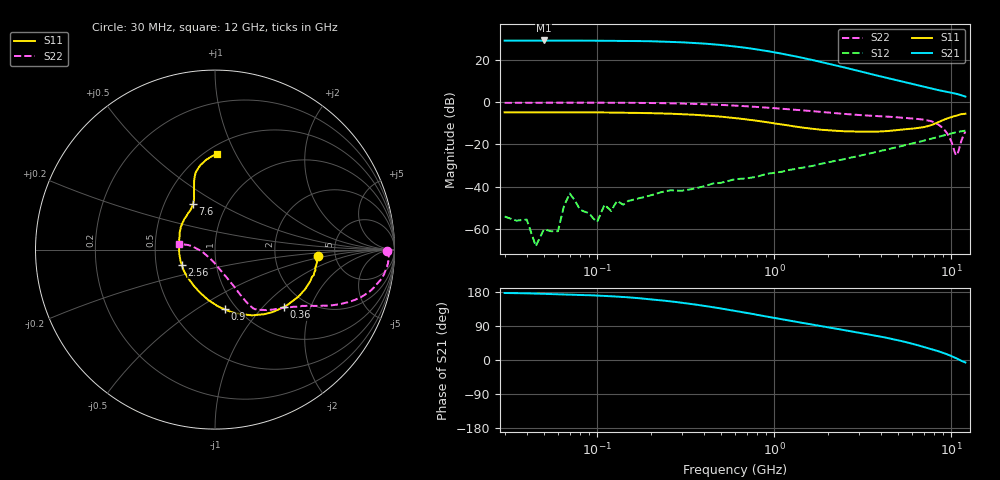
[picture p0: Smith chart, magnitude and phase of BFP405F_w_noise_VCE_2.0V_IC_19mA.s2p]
! Infineon Technologies  Discrete & RF Semiconductors
! BFP405F
! VCE =  2.0 V,  IC =  19 mA
! Common Emitter S-Parameters:  Nov 2015
# GHz  S  MA  R  50
!  f  S11  S21  S12  S22
! GHz  MAG  ANG  MAG  ANG  MAG  ANG  MAG  ANG
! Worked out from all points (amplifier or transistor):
!   239 points, 30 MHz to 12 GHz, reference 50 ohm
!   highest |S21| = 29.1 dB at 50 MHz (marker M1)
!   |S21| within 3 dB of that: start of sweep to 622.3 MHz
!   unconditionally stable (mu >= 1): 44.03 MHz to 60.92 MHz; 1.602 GHz to end of sweep
!   at 300 MHz: K = 0.30, MSG = 35.0 dB, |S12| = -41.8 dB
!   at 1.88 GHz: K = 1.08, MAG = 22.1 dB, |S12| = -29.0 dB
!   at 12 GHz: K = 1.40, MAG = 4.3 dB, |S12| = -13.5 dB
!   lowest NFmin = 2.19 dB at 450 MHz
!   S11 on the Smith chart (normalised r, x): 30 MHz: 3.66, -0.36; 360 MHz: 1.56, -1.33; 900 MHz: 0.88, -0.66; 2.56 GHz: 0.68, -0.12; 7.6 GHz: 0.69, +0.38; 12 GHz: 0.57, +0.85
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0.03  0.5741 -3.3  28.14 176.8  0.002 -174.6  0.9593 -0.4
0.04  0.5716 -4.5  28.21 176.0  0.0017 121.5  0.9648 -0.7
0.045  0.5701 -5.3  28.3 175.3  0.0004 127.3  0.964 -1.0
0.05  0.5688 -6.1  28.4 174.7  0.001 -62.6  0.9633 -1.4
0.06  0.5733 -6.9  28.18 173.8  0.0009 -11.4  0.9657 -1.7
0.07  0.5696 -9.0  28.16 172.5  0.007 70.8  0.971 -2.6
0.085  0.5687 -9.9  28.05 171.2  0.0026 97.8  0.9697 -3.0
0.1  0.5714 -11.6  27.93 170.0  0.0015 135.4  0.9682 -4.0
0.15  0.5601 -17.9  27.7 165.4  0.0047 69.5  0.9605 -6.1
0.24  0.538 -27.7  26.56 156.5  0.0079 79.5  0.9423 -9.8
0.36  0.5001 -39.7  24.64 146.2  0.0093 78.4  0.9055 -13.9
0.45  0.4705 -48.1  23.1 139.3  0.012 73.6  0.8751 -16.5
0.6  0.4205 -60.6  20.47 129.6  0.0152 70.0  0.8266 -19.9
0.7  0.3896 -67.6  18.92 124.1  0.0159 69.8  0.796 -21.6
0.9  0.3373 -80.8  16.11 114.8  0.0202 70.9  0.743 -24.4
1.28  0.2691 -102.2  12.27 102.0  0.0259 69.0  0.6654 -28.1
1.64  0.2346 -119.6  9.842 93.5  0.0312 69.8  0.6118 -30.8
2.56  0.2038 -154.6  6.365 77.8  0.0466 68.1  0.5216 -38.0
4.5  0.2101 161.4  3.563 56.7  0.0792 62.4  0.4498 -48.4
7.6  0.2819 115.9  2.11 29.7  0.134 49.1  0.3582 -58.5
10.6  0.4774 99.8  1.574 5.1  0.1941 31.9  0.0562 -119.5
12  0.5315 88.6  1.348 -6.4  0.2122 23.6  0.2019 170.7
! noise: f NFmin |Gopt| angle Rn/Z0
0.45  2.19  0.03  -9  0.5
0.9  2.21  0.01  -43  0.33
1.5  2.26  0.02  -82  0.27
1.9  2.32  0.03  -109  0.39
2.4  2.46  0.03  -113  0.24
3  2.56  0.05  -115  0.11
3.5  2.63  0.07  -116  0.14
4.5  2.86  0.13  -104  0.46
5.5  3.17  0.23  -88  0.49
